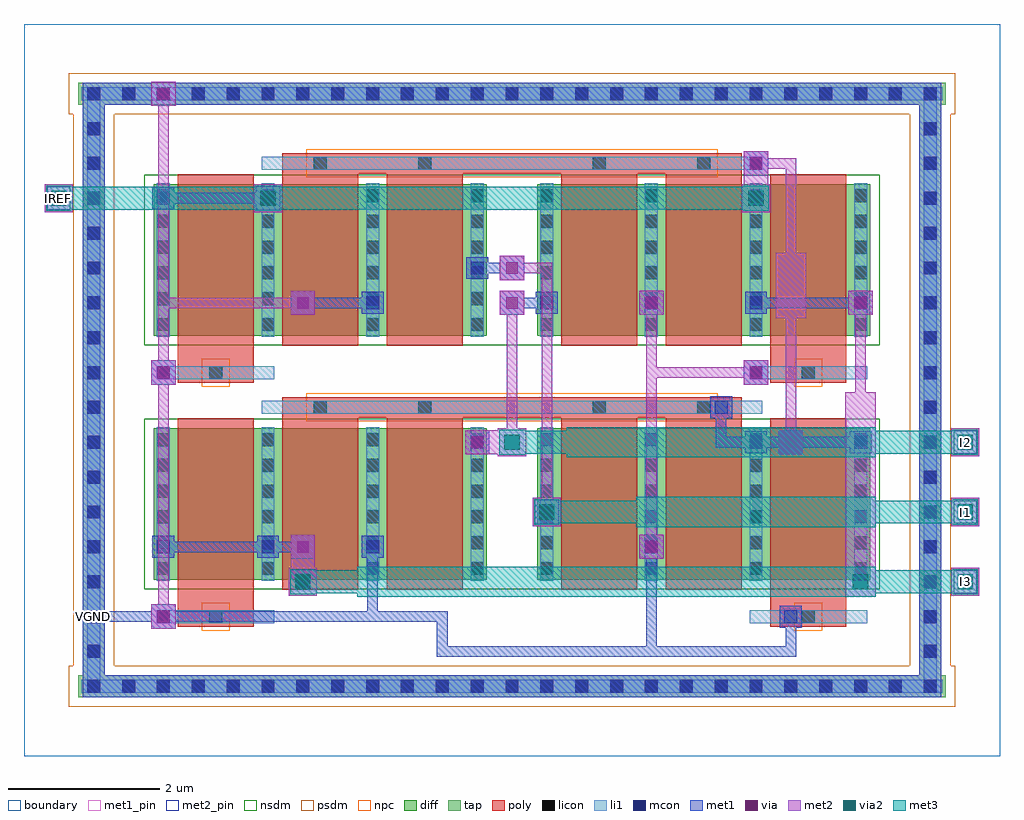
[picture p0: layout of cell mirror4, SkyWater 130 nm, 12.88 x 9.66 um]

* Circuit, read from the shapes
.subckt mirror4 I1 I2 I3 IREF VGND
XM1 I3 VGND I3 VGND sky130_fd_pr__nfet_01v8 w=2 l=1 m=2
XM2 IREF VGND IREF VGND sky130_fd_pr__nfet_01v8 w=2 l=1 m=2
XM3 VGND IREF I3 VGND sky130_fd_pr__nfet_01v8 w=2 l=1 m=2
XM4 VGND IREF IREF VGND sky130_fd_pr__nfet_01v8 w=2 l=1 m=2
XM5 I2 IREF VGND VGND sky130_fd_pr__nfet_01v8 w=2 l=1 m=2
XM6 I1 IREF VGND VGND sky130_fd_pr__nfet_01v8 w=2 l=1 m=2
.ends

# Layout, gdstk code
import gdstk
lib = gdstk.Library(unit=1e-6, precision=1e-09)
def R(c, l, rs):  # rectangles x0, y0, x1, y1
    for r in rs: c.add(gdstk.rectangle(r[:2], r[2:], *l))
def A(c, l, x, y, w, h, nx, ny, dx, dy):  # array of equal rectangles
    R(c, l, [(x+i*dx, y+j*dy, x+i*dx+w, y+j*dy+h) for i in range(nx) for j in range(ny)])
diff = (65, 20)
tap = (65, 44)
poly = (66, 20)
licon = (66, 44)
li1 = (67, 20)
mcon = (67, 44)
met1_pin = (68, 16)
met1 = (68, 20)
via = (68, 44)
met2_pin = (69, 16)
met2 = (69, 20)
via2 = (69, 44)
met3 = (70, 20)
nsdm = (93, 44)
psdm = (94, 20)
npc = (95, 20)
boundary = (235, 4)

mirror4 = lib.new_cell('mirror4')
R(mirror4, diff, [(1.715,2.325,6.105,4.325), (6.775,2.325,11.165,4.325), (1.715,5.545,6.105,7.545), (6.775,5.545,11.165,7.545)])
R(mirror4, tap, [(0.715,0.775,12.165,1.065), (0.775,0.775,1.065,8.885), (11.815,0.775,12.105,8.885), (0.715,8.595,12.165,8.885)])
R(mirror4, poly, [(2.03,1.705,3.03,1.975), (9.85,1.705,10.85,1.975), (2.03,1.84,3.03,4.455), (9.85,1.84,10.85,4.455), (3.41,2.195,4.41,4.6), (4.79,2.195,5.79,4.6), (7.09,2.195,8.09,4.6), (8.47,2.195,9.47,4.6), (3.41,4.465,9.47,4.735), (2.03,4.925,3.03,5.195), (9.85,4.925,10.85,5.195), (2.03,5.06,3.03,7.675), (9.85,5.06,10.85,7.675), (3.41,5.415,4.41,7.82), (4.79,5.415,5.79,7.82), (7.09,5.415,8.09,7.82), (8.47,5.415,9.47,7.82), (3.41,7.685,9.47,7.955)])
A(mirror4, licon, 0.835, 0.835, 0.17, 0.17, 25, 2, 0.46, 7.82)
A(mirror4, licon, 0.835, 1.295, 0.17, 0.17, 1, 16, 0, 0.46)
A(mirror4, licon, 11.875, 1.295, 0.17, 0.17, 1, 16, 0, 0.46)
A(mirror4, licon, 1.755, 2.39, 0.17, 0.17, 4, 6, 1.38, 0.34)
A(mirror4, licon, 6.815, 2.39, 0.17, 0.17, 4, 6, 1.38, 0.34)
A(mirror4, licon, 1.755, 5.61, 0.17, 0.17, 4, 6, 1.38, 0.34)
A(mirror4, licon, 6.815, 5.61, 0.17, 0.17, 4, 6, 1.38, 0.34)
R(mirror4, licon, [(2.445,1.755,2.615,1.925), (10.265,1.755,10.435,1.925), (3.825,4.515,3.995,4.685), (5.205,4.515,5.375,4.685), (7.505,4.515,7.675,4.685), (8.885,4.515,9.055,4.685), (2.445,4.975,2.615,5.145), (10.265,4.975,10.435,5.145), (3.825,7.735,3.995,7.905), (5.205,7.735,5.375,7.905), (7.505,7.735,7.675,7.905), (8.885,7.735,9.055,7.905)])
A(mirror4, li1, 1.755, 2.31, 0.17, 2.03, 4, 2, 1.38, 3.22)
A(mirror4, li1, 6.815, 2.31, 0.17, 2.03, 4, 2, 1.38, 3.22)
R(mirror4, li1, [(0.755,0.835,12.125,1.005), (0.835,0.835,1.005,8.825), (11.875,0.835,12.045,8.825), (1.755,1.755,3.305,1.925), (9.575,1.755,11.125,1.925), (3.135,4.515,9.745,4.685), (1.755,4.975,3.305,5.145), (9.575,4.975,11.125,5.145), (3.135,7.735,9.745,7.905), (0.755,8.655,12.125,8.825)])
A(mirror4, mcon, 0.835, 0.835, 0.17, 0.17, 25, 2, 0.46, 7.82)
A(mirror4, mcon, 0.835, 1.295, 0.17, 0.17, 1, 16, 0, 0.46)
A(mirror4, mcon, 11.875, 1.295, 0.17, 0.17, 1, 16, 0, 0.46)
A(mirror4, mcon, 1.755, 2.675, 0.17, 0.17, 3, 1, 1.38, 0)
A(mirror4, mcon, 6.815, 5.895, 0.17, 0.17, 4, 1, 1.38, 0)
R(mirror4, mcon, [(1.755,1.755,1.925,1.925), (10.035,1.755,10.205,1.925), (8.195,2.675,8.365,2.845), (6.815,3.135,6.985,3.305), (5.895,4.055,6.065,4.225), (9.575,4.055,9.745,4.225), (10.955,4.055,11.125,4.225), (9.115,4.515,9.285,4.685), (1.755,4.975,1.925,5.145), (9.575,4.975,9.745,5.145), (4.515,5.895,4.685,6.065), (5.895,6.355,6.065,6.525), (1.755,7.275,1.925,7.445), (3.135,7.275,3.305,7.445), (9.575,7.735,9.745,7.905)])
R(mirror4, met1_pin, [(0.85,1.77,0.99,1.91)])
A(mirror4, met1, 1.695, 2.615, 0.29, 0.29, 3, 1, 1.38, 0)
A(mirror4, met1, 6.755, 5.835, 0.29, 0.29, 4, 1, 1.38, 0)
R(mirror4, met1, [(0.775,0.775,12.105,1.065), (0.775,0.775,1.065,8.885), (11.815,0.775,12.105,8.885), (5.45,1.31,8.35,1.45), (5.45,1.31,5.59,1.91), (8.21,1.31,8.35,2.83), (8.21,1.31,10.19,1.45), (10.05,1.31,10.19,1.91), (1.68,1.68,2,2), (1.695,1.695,1.985,1.985), (9.975,1.695,10.265,1.985), (0.85,1.77,0.99,1.91), (0.85,1.77,1.91,1.91), (1.77,1.77,4.67,1.91), (4.53,1.77,5.59,1.91), (4.53,1.77,4.67,2.83), (3.52,2.6,3.84,2.92), (8.12,2.6,8.44,2.92), (8.135,2.615,8.425,2.905), (1.77,2.69,3.29,2.83), (3.15,2.69,3.75,2.83), (6.74,3.06,7.06,3.38), (6.755,3.075,7.045,3.365), (5.82,3.98,6.14,4.3), (9.96,3.98,10.28,4.3), (5.835,3.995,6.125,4.285), (9.515,3.995,9.805,4.285), (10.895,3.995,11.185,4.285), (9.13,4.07,9.73,4.21), (9.13,4.07,9.27,4.67), (9.59,4.07,11.11,4.21), (9.055,4.455,9.345,4.745), (1.68,4.9,2,5.22), (9.5,4.9,9.82,5.22), (1.695,4.915,1.985,5.205), (9.515,4.915,9.805,5.205), (3.52,5.82,3.84,6.14), (6.28,5.82,6.6,6.14), (8.12,5.82,8.44,6.14), (10.88,5.82,11.2,6.14), (4.455,5.835,4.745,6.125), (3.61,5.91,4.67,6.05), (6.37,5.91,6.97,6.05), (9.59,5.91,11.11,6.05), (6.28,6.28,6.6,6.6), (5.835,6.295,6.125,6.585), (5.91,6.37,6.51,6.51), (3.06,7.2,3.38,7.52), (1.695,7.215,1.985,7.505), (3.075,7.215,3.365,7.505), (1.77,7.29,3.29,7.43), (9.5,7.66,9.82,7.98), (9.515,7.675,9.805,7.965), (1.68,8.58,2,8.9), (0.775,8.595,12.105,8.885), (1.77,8.67,1.91,8.81)])
R(mirror4, via, [(1.765,1.765,1.915,1.915), (3.605,2.685,3.755,2.835), (8.205,2.685,8.355,2.835), (6.825,3.145,6.975,3.295), (5.905,4.065,6.055,4.215), (10.045,4.065,10.195,4.215), (1.765,4.985,1.915,5.135), (9.585,4.985,9.735,5.135), (3.605,5.905,3.755,6.055), (6.365,5.905,6.515,6.055), (8.205,5.905,8.355,6.055), (10.965,5.905,11.115,6.055), (6.365,6.365,6.515,6.515), (3.145,7.285,3.295,7.435), (9.585,7.745,9.735,7.895), (1.765,8.665,1.915,8.815)])
A(mirror4, met2_pin, 12.27, 2.15, 0.3, 0.3, 1, 3, 0, 0.92)
R(mirror4, met2_pin, [(0.31,7.21,0.61,7.51)])
A(mirror4, met2, 12.235, 2.115, 0.37, 0.37, 1, 3, 0, 0.92)
A(mirror4, met2, 12.27, 2.15, 0.3, 0.3, 1, 3, 0, 0.92)
A(mirror4, met2, 12.35, 2.23, 0.14, 0.14, 1, 3, 0, 0.92)
R(mirror4, met2, [(1.68,1.68,2,2), (1.77,1.77,1.91,5.13), (10.84,2.1,11.24,2.5), (10.84,2.1,11.24,4.8), (3.495,2.115,3.865,2.485), (3.61,2.23,3.75,2.83), (3.52,2.485,3.84,2.6), (3.52,2.6,3.84,2.92), (8.12,2.6,8.44,2.92), (8.21,2.69,8.35,6.05), (6.715,3.035,7.085,3.405), (6.74,3.06,7.06,3.38), (6.83,3.15,6.97,6.51), (6.255,3.955,6.625,4.325), (5.82,3.98,6.14,4.3), (6.14,3.98,6.255,4.3), (9.96,3.98,10.28,4.3), (5.91,4.07,6.51,4.21), (6.37,4.07,6.51,6.05), (10.05,4.07,10.19,6.05), (10.97,4.53,11.11,6.05), (1.68,4.9,2,5.22), (9.5,4.9,9.82,5.22), (1.77,4.99,1.91,8.81), (8.21,4.99,9.73,5.13), (9.92,5.78,10.32,6.64), (3.52,5.82,3.84,6.14), (6.28,5.82,6.6,6.14), (8.12,5.82,8.44,6.14), (10.88,5.82,11.2,6.14), (1.77,5.91,3.75,6.05), (6.28,6.28,6.6,6.6), (6.37,6.37,6.97,6.51), (10.05,6.37,10.19,7.89), (0.275,7.175,0.645,7.545), (3.035,7.175,3.405,7.545), (9.475,7.175,9.845,7.545), (3.06,7.2,3.38,7.52), (0.31,7.21,0.61,7.51), (0.39,7.29,0.53,7.43), (9.59,7.29,9.73,7.89), (9.5,7.545,9.82,7.66), (9.5,7.66,9.82,7.98), (9.59,7.75,10.19,7.89), (1.68,8.58,2,8.9)])
A(mirror4, via2, 12.32, 2.2, 0.2, 0.2, 1, 3, 0, 0.92)
R(mirror4, via2, [(3.58,2.2,3.78,2.4), (10.94,2.2,11.14,2.4), (6.8,3.12,7,3.32), (6.34,4.04,6.54,4.24), (0.36,7.26,0.56,7.46), (3.12,7.26,3.32,7.46), (9.56,7.26,9.76,7.46)])
A(mirror4, met3, 12.255, 2.135, 0.33, 0.33, 1, 3, 0, 0.92)
A(mirror4, met3, 10.89, 2.15, 1.68, 0.3, 1, 3, 0, 0.92)
R(mirror4, met3, [(4.4,2.1,11.24,2.5), (10.84,2.1,11.24,2.5), (3.515,2.135,3.845,2.465), (3.53,2.15,4.75,2.45), (8.08,3.02,11.24,3.42), (6.735,3.055,7.065,3.385), (6.75,3.07,8.43,3.37), (7.16,3.94,11.24,4.34), (6.275,3.975,6.605,4.305), (6.29,3.99,7.51,4.29), (0.295,7.195,0.625,7.525), (3.055,7.195,3.385,7.525), (9.495,7.195,9.825,7.525), (0.31,7.21,3.37,7.51), (3.07,7.21,9.81,7.51)])
R(mirror4, nsdm, [(1.59,2.2,11.29,4.45), (1.59,5.42,11.29,7.67)])
R(mirror4, psdm, [(0.59,0.65,12.29,1.19), (0.65,1.19,1.19,8.47), (11.69,1.19,12.23,8.47), (0.59,8.47,12.29,9.01)])
R(mirror4, npc, [(2.345,1.655,2.715,2.025), (10.165,1.655,10.535,2.025), (3.725,4.415,9.155,4.785), (2.345,4.875,2.715,5.245), (10.165,4.875,10.535,5.245), (3.725,7.635,9.155,8.005)])
R(mirror4, boundary, [(0,0,12.88,9.66)])
mirror4.add(gdstk.Label('VGND', (0.92,1.84), layer=68, texttype=5))
mirror4.add(gdstk.Label('IREF', (0.46,7.36), layer=69, texttype=5))
mirror4.add(gdstk.Label('I1', (12.42,3.22), layer=69, texttype=5))
mirror4.add(gdstk.Label('I2', (12.42,4.14), layer=69, texttype=5))
mirror4.add(gdstk.Label('I3', (12.42,2.3), layer=69, texttype=5))
mirror4.add(gdstk.Label('VGND', (0.92,1.84), layer=68, texttype=16))
mirror4.add(gdstk.Label('IREF', (0.46,7.36), layer=69, texttype=16))
mirror4.add(gdstk.Label('I1', (12.42,3.22), layer=69, texttype=16))
mirror4.add(gdstk.Label('I2', (12.42,4.14), layer=69, texttype=16))
mirror4.add(gdstk.Label('I3', (12.42,2.3), layer=69, texttype=16))

lib.write_gds('mirror4.gds')
